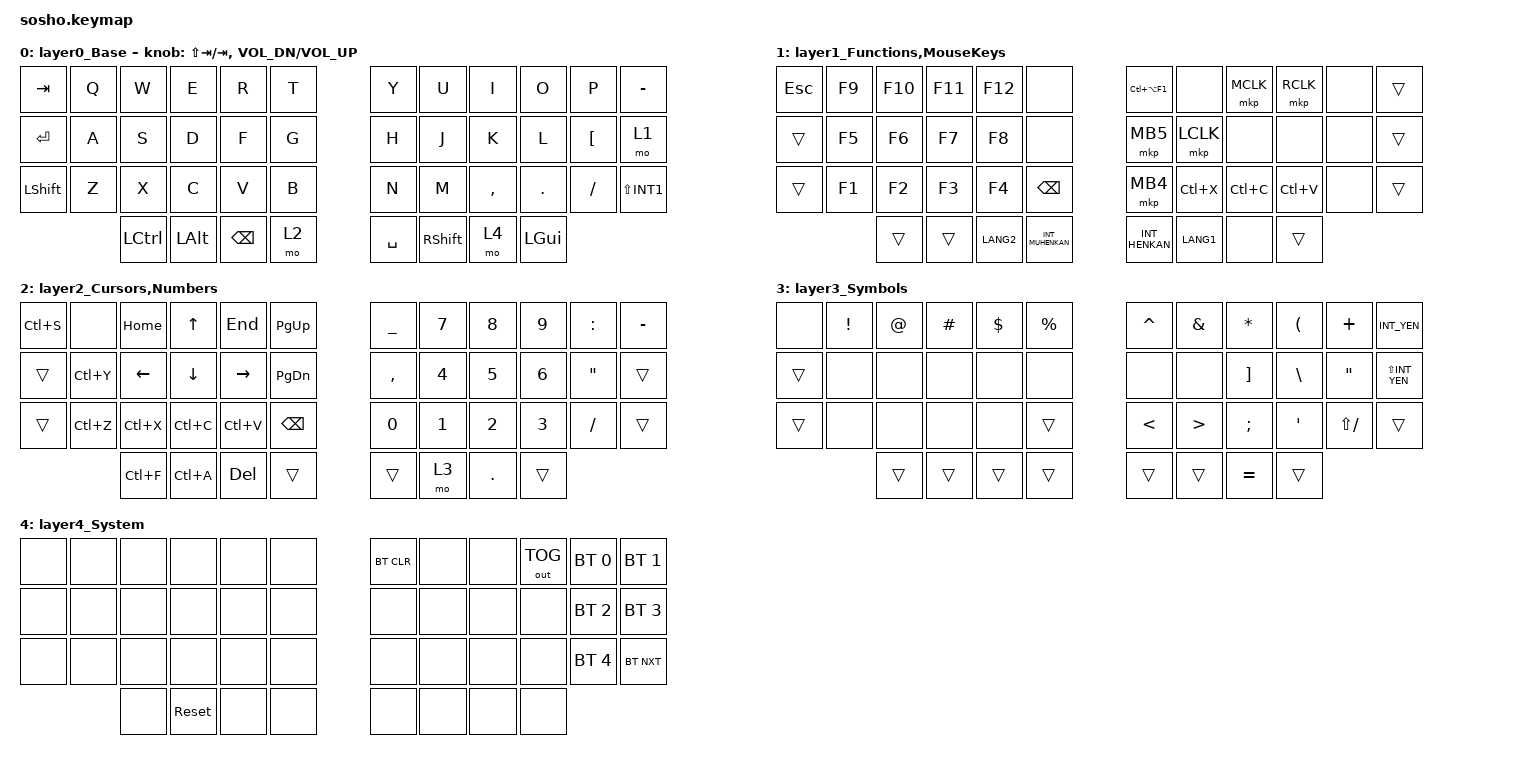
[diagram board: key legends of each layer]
//スクロール量の調整(デフォルト150)

#define ZMK_POINTING_DEFAULT_SCRL_VAL 150

#include <behaviors.dtsi>
#include <dt-bindings/zmk/bt.h>
#include <dt-bindings/zmk/keys.h>
#include <dt-bindings/zmk/outputs.h>
#include <dt-bindings/zmk/pointing.h>

/ {
    behaviors {
        ec_ms_l: ec_ms_h {
            compatible = "zmk,behavior-encoder-mouse-scroll";
            #sensor-binding-cells = <2>;
        };

        ec_ms_r: ec_ms_v {
            compatible = "zmk,behavior-encoder-mouse-scroll";
            #sensor-binding-cells = <2>;
        };
    };
};

//スクロールの調整

&msc {
    time-to-max-speed-ms = <0>;   // 即座に最大速度（加速なし）
    acceleration-exponent = <0>;   // 加速なし
};

/ {
    combos {
        compatible = "zmk,combos";

        //////左クリックのコンボ 19はJのキー 20はKのキーに相当します。
        ////combo_LCLK {
        ////    timeout-ms = <50>;
        ////    key-positions = <19 20>;
        ////    bindings = <&mkp LCLK>;
        ////};
        //////右クリックのコンボ 20 K 21 L
        ////combo_RCLK {
        ////    timeout-ms = <50>;
        ////    key-positions = <20 21>;
        ////    bindings = <&mkp RCLK>;
        ////};
        //////ホイールクリックのコンボ 19 J 21 L
        ////combo_MCLK {
        ////    timeout-ms = <90>;
        ////    key-positions = <19 21>;
        ////    bindings = <&mkp MCLK>;
        ////};
        //隼追加　ブートローダーのコンボ

        combo_BootLoader {
            timeout-ms = <50>;
            key-positions = <6 7 38 43>;
            bindings = <&bootloader>;
        };
    };
};

/ {
    keymap {
        compatible = "zmk,keymap";

        layer0_Base {
            bindings = <
&kp TAB    &kp Q     &kp W          &kp E  &kp R      &kp T            &kp Y  &kp U     &kp I      &kp O    &kp P             &kp MINUS
&kp RET    &kp A     &kp S          &kp D  &kp F      &kp G            &kp H  &kp J     &kp K      &kp L    &kp LEFT_BRACKET  &mo 1
&kp LSHFT  &kp Z     &kp X          &kp C  &kp V      &kp B            &kp N  &kp M     &kp COMMA  &kp DOT  &kp SLASH         &kp LS(INT1)
&kp LCTRL  &kp LALT  &kp BACKSPACE  &mo 2  &kp SPACE  &kp RIGHT_SHIFT  &mo 4  &kp LGUI
            >;

            //////&ec_ms_lとrは、上のビヘイビアで作ったもの。
            ////sensor-bindings = <&ec_ms_l SCRL_LEFT SCRL_RIGHT &ec_ms_r SCRL_DOWN SCRL_UP>;
            //隼追加　左手エンコーダでタブ／シフトタブ、右手エンコーダで音量の上下

            sensor-bindings = <&inc_dec_kp LS(TAB) TAB &inc_dec_kp C_VOL_DN C_VOL_UP>;
        };

        layer1_Functions,MouseKeys {
            bindings = <
&kp ESC  &kp F9  &kp F10    &kp F11           &kp F12         &none          &kp LC(LA(F1))  &none      &mkp MCLK  &mkp RCLK  &none  &trans
&trans   &kp F5  &kp F6     &kp F7            &kp F8          &none          &mkp MB5        &mkp LCLK  &none      &none      &none  &trans
&trans   &kp F1  &kp F2     &kp F3            &kp F4          &kp BACKSPACE  &mkp MB4        &kp LC(X)  &kp LC(C)  &kp LC(V)  &none  &trans
&trans   &trans  &kp LANG2  &kp INT_MUHENKAN  &kp INT_HENKAN  &kp LANG1      &none           &trans
            >;
        };

        layer2_Cursors,Numbers {
            bindings = <
&kp LC(S)  &none      &kp HOME   &kp UP     &kp END    &kp PG_UP      &kp UNDER   &kp N7  &kp N8  &kp N9  &kp COLON          &kp MINUS
&trans     &kp LC(Y)  &kp LEFT   &kp DOWN   &kp RIGHT  &kp PG_DN      &kp COMMA   &kp N4  &kp N5  &kp N6  &kp DOUBLE_QUOTES  &trans
&trans     &kp LC(Z)  &kp LC(X)  &kp LC(C)  &kp LC(V)  &kp BACKSPACE  &kp N0      &kp N1  &kp N2  &kp N3  &kp SLASH          &trans
&kp LC(F)  &kp LC(A)  &kp DEL    &trans     &trans     &mo 3          &kp PERIOD  &trans
            >;
        };

        layer3_Symbols {
            bindings = <
&none   &kp EXCL  &kp AT  &kp HASH  &kp DOLLAR  &kp PERCENT  &kp CARET  &kp AMPS  &kp ASTRK          &kp LPAR       &kp PLUS           &kp INT_YEN
&trans  &none     &none   &none     &none       &none        &none      &none     &kp RIGHT_BRACKET  &kp BACKSLASH  &kp DOUBLE_QUOTES  &kp LS(INT_YEN)
&trans  &none     &none   &none     &none       &trans       &kp LT     &kp GT    &kp SEMI           &kp APOS       &kp LS(SLASH)      &trans
&trans  &trans    &trans  &trans    &trans      &trans       &kp EQUAL  &trans
            >;

            //////レイヤー2のときだけ、左手のエンコーダを回すとボリュームの上下ができるようになっています。
            ////sensor-bindings = <&inc_dec_kp C_VOL_DN C_VOL_UP &ec_ms_r SCRL_DOWN SCRL_UP>;
        };

        layer4_System {
            bindings = <
&none  &none       &none  &none  &none  &none  &bt BT_CLR  &none  &none  &out OUT_TOG  &bt BT_SEL 0  &bt BT_SEL 1
&none  &none       &none  &none  &none  &none  &none       &none  &none  &none         &bt BT_SEL 2  &bt BT_SEL 3
&none  &none       &none  &none  &none  &none  &none       &none  &none  &none         &bt BT_SEL 4  &bt BT_NXT
&none  &sys_reset  &none  &none  &none  &none  &none       &none
            >;
        };

        scroll { status = "reserved"; };

        extra2 { status = "reserved"; };
    };
};
